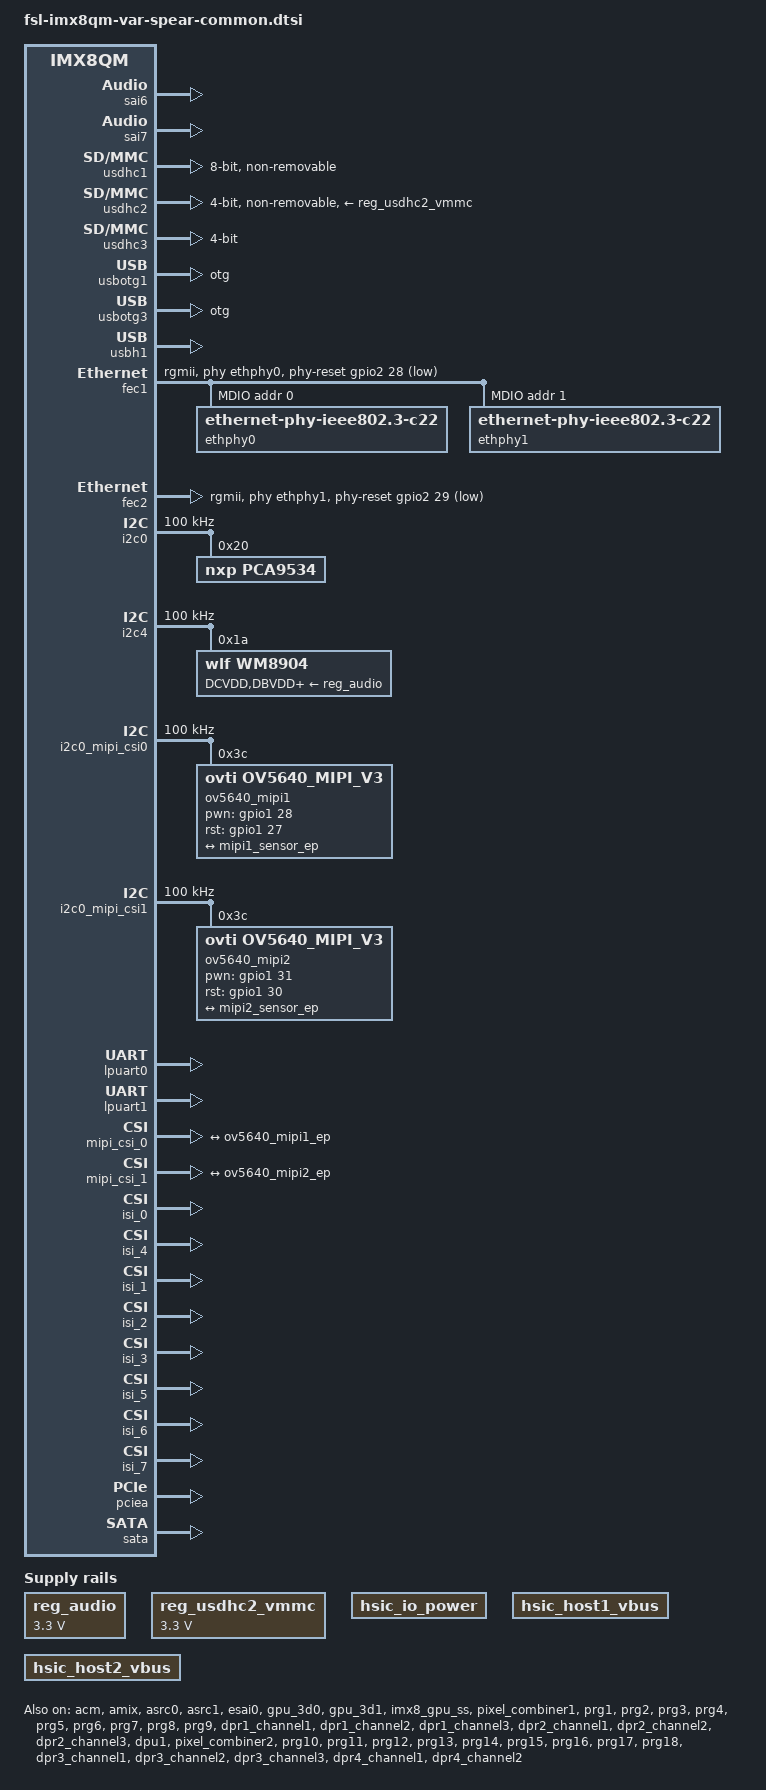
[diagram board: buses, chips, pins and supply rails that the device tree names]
/*
 * Copyright (C) 2016 Freescale Semiconductor, Inc.
 * Copyright 2017 NXP
 * Copyright 2019 Variscite Ltd.
 * 
 * This program is free software; you can redistribute it and/or
 * modify it under the terms of the GNU General Public License
 * as published by the Free Software Foundation; either version 2
 * of the License, or (at your option) any later version.
 *
 * This program is distributed in the hope that it will be useful,
 * but WITHOUT ANY WARRANTY; without even the implied warranty of
 * MERCHANTABILITY or FITNESS FOR A PARTICULAR PURPOSE.  See the
 * GNU General Public License for more details.
 */

/dts-v1/;

#include "fsl-imx8qm.dtsi"

/ {
	compatible = "fsl,imx8qm-var-spear", "fsl,imx8qm";

	chosen {
		bootargs = "console=ttyLP0,115200 earlycon=lpuart32,0x5a060000,115200";
		stdout-path = &lpuart0;
	};

	aliases {
		gpio0 = &gpio0;
		gpio1 = &gpio1;
		gpio2 = &gpio2;
		gpio3 = &gpio3;
		gpio4 = &gpio4;
		gpio5 = &gpio5;
		gpio6 = &gpio6;
		gpio7 = &gpio7;
		i2c0  = &i2c0;
		i2c1  = &i2c1;
		i2c2  = &i2c2;
		i2c3  = &i2c3;
		i2c4  = &i2c4;
	};

	regulators: regulators {
		compatible = "simple-bus";
		#address-cells = <1>;
		#size-cells = <0>;

		reg_audio: audio {
			compatible = "regulator-fixed";
			regulator-name = "wm8904_supply";
			regulator-min-microvolt = <3300000>;
			regulator-max-microvolt = <3300000>;
			regulator-always-on;
		};

		reg_usdhc2_vmmc: usdhc2_vmmc {
			compatible = "regulator-fixed";
			regulator-name = "sw-3p3-sd1";
			regulator-min-microvolt = <3300000>;
			regulator-max-microvolt = <3300000>;
			regulator-always-on;
		};

		hsic_io_power: hsic_io_power {
			compatible = "regulator-fixed";
			regulator-name = "hsic_io_power";
			regulator-always-on;
		};

		hsic_host1_vbus: hsic_host1_vbus {
			compatible = "regulator-fixed";
			regulator-name = "hsic_host1_vbus";
			regulator-always-on;
		};

		hsic_host2_vbus: hsic_host2_vbus {
			compatible = "regulator-fixed";
			regulator-name = "hsic_host2_vbus";
			regulator-always-on;
		};
	};

	sound-wm8904 {
		compatible = "fsl,imx-audio-wm8904";
		model = "imx-wm8904";
		audio-codec = <&wm8904>;
		audio-cpu = <&esai0>;
		audio-routing =
			"Headphone Jack", "HPOUTL",
			"Headphone Jack", "HPOUTR",
			"IN2L", "Line In Jack",
			"IN2R", "Line In Jack",
			"IN1L", "Mic Jack",
			"Playback", "CPU-Playback",
			"CPU-Capture", "Capture";
		status = "okay";
	};

	sound-amix-sai {
		compatible = "fsl,imx-audio-amix";
		model = "amix-audio-sai";
		dais = <&sai6>, <&sai7>;
		amix-controller = <&amix>;
	};
};

&acm {
	status = "okay";
};

&amix {
	status = "okay";
};

&asrc0 {
	assigned-clocks = <&clk IMX8QM_AUD_PLL0_DIV>,
			<&clk IMX8QM_AUD_ACM_AUD_PLL_CLK0_DIV>,
			<&clk IMX8QM_AUD_ACM_AUD_REC_CLK0_DIV>;
	assigned-clock-rates = <786432000>, <49152000>, <24576000>;
	fsl,asrc-rate  = <48000>;
	status = "okay";
};

&asrc1 {
	assigned-clocks = <&clk IMX8QM_AUD_PLL0_DIV>,
			<&clk IMX8QM_AUD_ACM_AUD_PLL_CLK0_DIV>,
			<&clk IMX8QM_AUD_ACM_AUD_REC_CLK0_DIV>;
	assigned-clock-rates = <786432000>, <49152000>, <24576000>;
	fsl,asrc-rate = <48000>;
	status = "okay";
};

&esai0 {
	pinctrl-names = "default";
	pinctrl-0 = <&pinctrl_esai0>;
	assigned-clocks = <&clk IMX8QM_ACM_ESAI0_MCLK_SEL>,
			<&clk IMX8QM_AUD_PLL0_DIV>,
			<&clk IMX8QM_AUD_ACM_AUD_PLL_CLK0_DIV>,
			<&clk IMX8QM_AUD_ACM_AUD_REC_CLK0_DIV>,
			<&clk IMX8QM_AUD_ESAI_0_EXTAL_IPG>;
	assigned-clock-parents = <&clk IMX8QM_AUD_ACM_AUD_PLL_CLK0_CLK>;
	assigned-clock-rates = <0>, <786432000>, <49152000>, <24576000>, <49152000>;
	status = "okay";
};

&sai6 {
	assigned-clocks = <&clk IMX8QM_ACM_SAI6_MCLK_SEL>,
			<&clk IMX8QM_AUD_PLL1_DIV>,
			<&clk IMX8QM_AUD_ACM_AUD_PLL_CLK1_DIV>,
			<&clk IMX8QM_AUD_ACM_AUD_REC_CLK1_DIV>,
			<&clk IMX8QM_AUD_SAI_6_MCLK>;
	assigned-clock-parents = <&clk IMX8QM_AUD_ACM_AUD_PLL_CLK1_CLK>;
	assigned-clock-rates = <0>, <786432000>, <98304000>, <24576000>, <98304000>;
	fsl,sai-asynchronous;
	fsl,txm-rxs;
	status = "okay";
};

&sai7 {
	assigned-clocks = <&clk IMX8QM_ACM_SAI7_MCLK_SEL>,
			<&clk IMX8QM_AUD_PLL1_DIV>,
			<&clk IMX8QM_AUD_ACM_AUD_PLL_CLK1_DIV>,
			<&clk IMX8QM_AUD_ACM_AUD_REC_CLK1_DIV>,
			<&clk IMX8QM_AUD_SAI_7_MCLK>;
	assigned-clock-parents = <&clk IMX8QM_AUD_ACM_AUD_PLL_CLK1_CLK>;
	assigned-clock-rates = <0>, <786432000>, <98304000>, <24576000>, <98304000>;
	fsl,sai-asynchronous;
	fsl,txm-rxs;
	status = "okay";
};

&iomuxc {
	pinctrl-names = "default";
	pinctrl-0 = <&pinctrl_hog>;

	imx8qm_var_spear {
		pinctrl_hog: hoggrp {
			fsl,pins = <
				SC_P_ADC_IN2_LSIO_GPIO3_IO20			0x00000041
				SC_P_ADC_IN3_LSIO_GPIO3_IO21			0x00000041
				SC_P_ADC_IN4_LSIO_GPIO3_IO22			0x00000041
				SC_P_ADC_IN5_LSIO_GPIO3_IO23			0x00000041
				SC_P_ADC_IN7_LSIO_GPIO3_IO25			0x00000041
				SC_P_ENET0_REFCLK_125M_25M_LSIO_GPIO4_IO15	0x00000041
				SC_P_ENET1_REFCLK_125M_25M_LSIO_GPIO4_IO16	0x00000041
				SC_P_ESAI1_SCKT_LSIO_GPIO2_IO07			0x00000041
				SC_P_ESAI1_TX1_LSIO_GPIO2_IO09			0x00000041
				SC_P_ESAI1_TX2_RX3_LSIO_GPIO2_IO10		0x00000041
				SC_P_ESAI1_TX3_RX2_LSIO_GPIO2_IO11		0x00000041
				SC_P_ESAI1_TX4_RX1_LSIO_GPIO2_IO12		0x00000041
				SC_P_ESAI1_TX5_RX0_LSIO_GPIO2_IO13		0x00000041
				SC_P_FLEXCAN0_RX_LSIO_GPIO3_IO29		0x00000041
				SC_P_FLEXCAN0_TX_LSIO_GPIO3_IO30		0x00000041
				SC_P_FLEXCAN1_RX_LSIO_GPIO3_IO31		0x00000041
				SC_P_FLEXCAN1_TX_LSIO_GPIO4_IO00		0x00000041
				SC_P_FLEXCAN2_RX_LSIO_GPIO4_IO01		0x00000041
				SC_P_FLEXCAN2_TX_LSIO_GPIO4_IO02		0x00000041
				SC_P_GPT0_CAPTURE_LSIO_GPIO0_IO15		0x00000041
				SC_P_GPT0_CLK_LSIO_GPIO0_IO14			0x00000041
				SC_P_GPT0_COMPARE_LSIO_GPIO0_IO16		0x00000041
				SC_P_GPT1_CAPTURE_LSIO_GPIO0_IO18		0x00000041
				SC_P_GPT1_CLK_LSIO_GPIO0_IO17			0x00000041
				SC_P_GPT1_COMPARE_LSIO_GPIO0_IO19		0x00000041
				SC_P_LVDS0_GPIO00_LSIO_GPIO1_IO04		0x00000041
				SC_P_LVDS0_GPIO01_LSIO_GPIO1_IO05		0x00000041
				SC_P_LVDS0_I2C0_SCL_LSIO_GPIO1_IO06		0x00000041
				SC_P_LVDS0_I2C1_SCL_LSIO_GPIO1_IO08		0x00000041
				SC_P_LVDS0_I2C1_SDA_LSIO_GPIO1_IO09		0x00000041
				SC_P_LVDS1_GPIO00_LSIO_GPIO1_IO10		0x00000041
				SC_P_LVDS1_GPIO01_LSIO_GPIO1_IO11		0x00000041
				SC_P_LVDS1_I2C0_SCL_LSIO_GPIO1_IO12		0x00000041
				SC_P_LVDS1_I2C0_SDA_LSIO_GPIO1_IO13		0x00000041
				SC_P_LVDS1_I2C1_SCL_LSIO_GPIO1_IO14		0x00000041
				SC_P_LVDS1_I2C1_SDA_LSIO_GPIO1_IO15		0x00000041
				SC_P_M40_GPIO0_00_LSIO_GPIO0_IO08		0x00000041
				SC_P_M40_GPIO0_01_LSIO_GPIO0_IO09		0x00000041
				SC_P_M40_I2C0_SCL_LSIO_GPIO0_IO06		0x00000041
				SC_P_M40_I2C0_SDA_LSIO_GPIO0_IO07		0x00000041
				SC_P_M41_GPIO0_00_LSIO_GPIO0_IO12		0x00000041
				SC_P_M41_GPIO0_01_LSIO_GPIO0_IO13		0x00000041
				SC_P_M41_I2C0_SCL_LSIO_GPIO0_IO10		0x00000041
				SC_P_M41_I2C0_SDA_LSIO_GPIO0_IO11		0x00000041
				SC_P_MIPI_DSI0_GPIO0_00_LSIO_GPIO1_IO18		0x00000041
				SC_P_MIPI_DSI0_GPIO0_01_LSIO_GPIO1_IO19		0x00000041
				SC_P_MIPI_DSI0_I2C0_SCL_LSIO_GPIO1_IO16		0x00000041
				SC_P_MIPI_DSI0_I2C0_SDA_LSIO_GPIO1_IO17		0x00000041
				SC_P_MLB_DATA_LSIO_GPIO3_IO28			0x00000041
				SC_P_MLB_SIG_LSIO_GPIO3_IO26			0x00000041
				SC_P_PCIE_CTRL0_CLKREQ_B_LSIO_GPIO4_IO27	0x00000041
				SC_P_PCIE_CTRL0_PERST_B_LSIO_GPIO4_IO29		0x00000041
				SC_P_PCIE_CTRL0_WAKE_B_LSIO_GPIO4_IO28		0x00000041
				SC_P_PCIE_CTRL1_CLKREQ_B_LSIO_GPIO4_IO30	0x00000041
				SC_P_PCIE_CTRL1_PERST_B_LSIO_GPIO5_IO00		0x00000041
				SC_P_PCIE_CTRL1_WAKE_B_LSIO_GPIO4_IO31		0x00000041
				SC_P_SAI1_RXC_LSIO_GPIO3_IO12			0x00000041
				SC_P_SAI1_TXC_LSIO_GPIO3_IO15			0x00000041
				SC_P_SAI1_TXD_LSIO_GPIO3_IO16			0x00000041
				SC_P_SCU_GPIO0_00_LSIO_GPIO0_IO28		0x00000061
				SC_P_SCU_GPIO0_01_LSIO_GPIO0_IO29		0x00000061
				SC_P_SCU_GPIO0_05_LSIO_GPIO1_IO01		0x00000041
				SC_P_SCU_GPIO0_06_LSIO_GPIO1_IO02		0x00000041
				SC_P_MLB_CLK_LSIO_GPIO3_IO27			0x00000041
				SC_P_SPI2_SCK_LSIO_GPIO3_IO07			0x00000041
				SC_P_UART0_CTS_B_LSIO_GPIO0_IO23		0x00000041
				SC_P_UART0_RTS_B_LSIO_GPIO0_IO22		0x00000041
				SC_P_USB_SS3_TC0_LSIO_GPIO4_IO03		0x00000041
				SC_P_USB_SS3_TC1_LSIO_GPIO4_IO04		0x00000041
				SC_P_USB_SS3_TC2_LSIO_GPIO4_IO05		0x00000041
				SC_P_USB_SS3_TC3_LSIO_GPIO4_IO06		0x00000041
				SC_P_USDHC1_DATA4_LSIO_GPIO5_IO19		0x00000041
				SC_P_USDHC1_DATA5_LSIO_GPIO5_IO20		0x00000041
				SC_P_USDHC1_DATA6_LSIO_GPIO5_IO21		0x00000041
				SC_P_USDHC1_DATA7_LSIO_GPIO5_IO22		0x00000041
				SC_P_USDHC1_RESET_B_LSIO_GPIO4_IO07		0x00000041
				SC_P_USDHC1_STROBE_LSIO_GPIO5_IO23		0x00000041
				SC_P_ADC_IN6_LSIO_GPIO3_IO24			0x00000041
				SC_P_ADC_IN0_LSIO_GPIO3_IO18			0x00000041
				SC_P_ADC_IN1_LSIO_GPIO3_IO19			0x00000041
				SC_P_SPI3_CS1_LSIO_GPIO2_IO21			0x00000041
				SC_P_SPDIF0_RX_LSIO_GPIO2_IO14			0x00000041
				SC_P_SPI0_SDI_LSIO_GPIO3_IO04			0x00000041
				SC_P_SPDIF0_EXT_CLK_LSIO_GPIO2_IO16		0x00000041
				SC_P_SPI2_CS1_LSIO_GPIO3_IO11			0x00000041
				SC_P_MCLK_IN0_LSIO_GPIO3_IO00			0x00000041
				SC_P_SPI0_SCK_LSIO_GPIO3_IO02			0x00000041
				SC_P_ESAI1_FST_LSIO_GPIO2_IO05			0x00000041
				SC_P_SPI3_SDI_LSIO_GPIO2_IO19			0x00000041
				SC_P_ESAI1_SCKR_LSIO_GPIO2_IO06			0x00000041
				SC_P_ESAI1_FSR_LSIO_GPIO2_IO04			0x00000041
				SC_P_SAI1_RXD_LSIO_GPIO3_IO13			0x00000041
				SC_P_ESAI1_TX0_LSIO_GPIO2_IO08			0x00000041
				SC_P_SPI0_SDO_LSIO_GPIO3_IO03			0x00000041
				SC_P_SPI2_SDO_LSIO_GPIO3_IO08			0x00000041
				SC_P_SPI2_SDI_LSIO_GPIO3_IO09			0x00000041
				SC_P_SPI2_CS0_LSIO_GPIO3_IO10			0x00000041
				SC_P_SAI1_TXFS_LSIO_GPIO3_IO17			0x00000041
				SC_P_SPI0_CS0_LSIO_GPIO3_IO05			0x00000041
				SC_P_SPDIF0_TX_LSIO_GPIO2_IO15			0x00000041
				SC_P_SPI0_CS1_LSIO_GPIO3_IO06			0x00000041
				SC_P_SPI3_SDO_LSIO_GPIO2_IO18			0x00000041
				SC_P_SPI3_CS0_LSIO_GPIO2_IO20			0x00000041
				SC_P_SPI3_SCK_LSIO_GPIO2_IO17			0x00000041
			>;
		};
		pinctrl_esai0: esai0grp {
			fsl,pins = <
				SC_P_ESAI0_FSR_AUD_ESAI0_FSR			0xc600004c
				SC_P_ESAI0_FST_AUD_ESAI0_FST			0xc600004c
				SC_P_ESAI0_SCKR_AUD_ESAI0_SCKR			0xc600004c
				SC_P_ESAI0_SCKT_AUD_ESAI0_SCKT			0xc600004c
				SC_P_ESAI0_TX0_AUD_ESAI0_TX0			0xc600004c
				SC_P_ESAI0_TX5_RX0_AUD_ESAI0_TX5_RX0		0xc600004c
				SC_P_MCLK_OUT0_AUD_ESAI0_TX_HF_CLK		0xc600004c
			>;
		};

		pinctrl_fec1: fec1grp {
			fsl,pins = <
				SC_P_ENET0_MDC_CONN_ENET0_MDC			0x06000048
				SC_P_ENET0_MDIO_CONN_ENET0_MDIO			0x06000048
				SC_P_ENET0_RGMII_TX_CTL_CONN_ENET0_RGMII_TX_CTL	0x06000048
				SC_P_ENET0_RGMII_TXC_CONN_ENET0_RGMII_TXC	0x06000048
				SC_P_ENET0_RGMII_TXD0_CONN_ENET0_RGMII_TXD0	0x06000048
				SC_P_ENET0_RGMII_TXD1_CONN_ENET0_RGMII_TXD1	0x06000048
				SC_P_ENET0_RGMII_TXD2_CONN_ENET0_RGMII_TXD2	0x06000048
				SC_P_ENET0_RGMII_TXD3_CONN_ENET0_RGMII_TXD3	0x06000048
				SC_P_ENET0_RGMII_RXC_CONN_ENET0_RGMII_RXC	0x06000048
				SC_P_ENET0_RGMII_RX_CTL_CONN_ENET0_RGMII_RX_CTL	0x06000048
				SC_P_ENET0_RGMII_RXD0_CONN_ENET0_RGMII_RXD0	0x06000048
				SC_P_ENET0_RGMII_RXD1_CONN_ENET0_RGMII_RXD1	0x06000048
				SC_P_ENET0_RGMII_RXD2_CONN_ENET0_RGMII_RXD2	0x06000048
				SC_P_ENET0_RGMII_RXD3_CONN_ENET0_RGMII_RXD3	0x06000048
				SC_P_ESAI0_TX2_RX3_LSIO_GPIO2_IO28		0x06000048
			>;
		};

		pinctrl_fec2: fec2grp {
			fsl,pins = <
				SC_P_ENET1_RGMII_TX_CTL_CONN_ENET1_RGMII_TX_CTL	0x06000048
				SC_P_ENET1_RGMII_TXC_CONN_ENET1_RGMII_TXC	0x06000048
				SC_P_ENET1_RGMII_TXD0_CONN_ENET1_RGMII_TXD0	0x06000048
				SC_P_ENET1_RGMII_TXD1_CONN_ENET1_RGMII_TXD1	0x06000048
				SC_P_ENET1_RGMII_TXD2_CONN_ENET1_RGMII_TXD2	0x06000048
				SC_P_ENET1_RGMII_TXD3_CONN_ENET1_RGMII_TXD3	0x06000048
				SC_P_ENET1_RGMII_RXC_CONN_ENET1_RGMII_RXC	0x06000048
				SC_P_ENET1_RGMII_RX_CTL_CONN_ENET1_RGMII_RX_CTL	0x06000048
				SC_P_ENET1_RGMII_RXD0_CONN_ENET1_RGMII_RXD0	0x06000048
				SC_P_ENET1_RGMII_RXD1_CONN_ENET1_RGMII_RXD1	0x06000048
				SC_P_ENET1_RGMII_RXD2_CONN_ENET1_RGMII_RXD2	0x06000048
				SC_P_ENET1_RGMII_RXD3_CONN_ENET1_RGMII_RXD3	0x06000048
				SC_P_ESAI0_TX3_RX2_LSIO_GPIO2_IO29		0x06000048
			>;
		};

		pinctrl_lpi2c0: lpi2c0grp {
			fsl,pins = <
				SC_P_HDMI_TX0_TS_SCL_DMA_I2C0_SCL		0xc600004c
				SC_P_HDMI_TX0_TS_SDA_DMA_I2C0_SDA		0xc600004c
			>;
		};

		pinctrl_lpi2c4: lpi2c4grp {
			fsl,pins = <
				SC_P_ENET1_MDC_DMA_I2C4_SCL				0xc600004c
				SC_P_ENET1_MDIO_DMA_I2C4_SDA			0xc600004c
			>;
		};

		pinctrl_lpuart0: lpuart0grp {
			fsl,pins = <
				SC_P_UART0_RX_DMA_UART0_RX				0x06000020
				SC_P_UART0_TX_DMA_UART0_TX				0x06000020
			>;
		};

		pinctrl_lpuart1: lpuart1grp {
			fsl,pins = <
				SC_P_UART1_RX_DMA_UART1_RX				0x06000020
				SC_P_UART1_TX_DMA_UART1_TX				0x06000020
				SC_P_UART1_CTS_B_DMA_UART1_RTS_B		0x06000020
				SC_P_UART1_RTS_B_DMA_UART1_CTS_B		0x06000020
			>;
		};

		pinctrl_usdhc1: usdhc1grp {
			fsl,pins = <
				SC_P_EMMC0_CLK_CONN_EMMC0_CLK			0x06000041
				SC_P_EMMC0_CMD_CONN_EMMC0_CMD			0x00000021
				SC_P_EMMC0_DATA0_CONN_EMMC0_DATA0		0x00000021
				SC_P_EMMC0_DATA1_CONN_EMMC0_DATA1		0x00000021
				SC_P_EMMC0_DATA2_CONN_EMMC0_DATA2		0x00000021
				SC_P_EMMC0_DATA3_CONN_EMMC0_DATA3		0x00000021
				SC_P_EMMC0_DATA4_CONN_EMMC0_DATA4		0x00000021
				SC_P_EMMC0_DATA5_CONN_EMMC0_DATA5		0x00000021
				SC_P_EMMC0_DATA6_CONN_EMMC0_DATA6		0x00000021
				SC_P_EMMC0_DATA7_CONN_EMMC0_DATA7		0x00000021
				SC_P_EMMC0_STROBE_CONN_EMMC0_STROBE		0x06000041
				SC_P_EMMC0_RESET_B_CONN_EMMC0_RESET_B		0x00000021
			>;
		};

		pinctrl_usdhc1_100mhz: usdhc1grp100mhz {
			fsl,pins = <
				SC_P_EMMC0_CLK_CONN_EMMC0_CLK			0x06000040
				SC_P_EMMC0_CMD_CONN_EMMC0_CMD			0x00000020
				SC_P_EMMC0_DATA0_CONN_EMMC0_DATA0		0x00000020
				SC_P_EMMC0_DATA1_CONN_EMMC0_DATA1		0x00000020
				SC_P_EMMC0_DATA2_CONN_EMMC0_DATA2		0x00000020
				SC_P_EMMC0_DATA3_CONN_EMMC0_DATA3		0x00000020
				SC_P_EMMC0_DATA4_CONN_EMMC0_DATA4		0x00000020
				SC_P_EMMC0_DATA5_CONN_EMMC0_DATA5		0x00000020
				SC_P_EMMC0_DATA6_CONN_EMMC0_DATA6		0x00000020
				SC_P_EMMC0_DATA7_CONN_EMMC0_DATA7		0x00000020
				SC_P_EMMC0_STROBE_CONN_EMMC0_STROBE		0x06000040
				SC_P_EMMC0_RESET_B_CONN_EMMC0_RESET_B		0x00000020
			>;
		};

		pinctrl_usdhc1_200mhz: usdhc1grp200mhz {
			fsl,pins = <
				SC_P_EMMC0_CLK_CONN_EMMC0_CLK			0x06000040
				SC_P_EMMC0_CMD_CONN_EMMC0_CMD			0x00000020
				SC_P_EMMC0_DATA0_CONN_EMMC0_DATA0		0x00000020
				SC_P_EMMC0_DATA1_CONN_EMMC0_DATA1		0x00000020
				SC_P_EMMC0_DATA2_CONN_EMMC0_DATA2		0x00000020
				SC_P_EMMC0_DATA3_CONN_EMMC0_DATA3		0x00000020
				SC_P_EMMC0_DATA4_CONN_EMMC0_DATA4		0x00000020
				SC_P_EMMC0_DATA5_CONN_EMMC0_DATA5		0x00000020
				SC_P_EMMC0_DATA6_CONN_EMMC0_DATA6		0x00000020
				SC_P_EMMC0_DATA7_CONN_EMMC0_DATA7		0x00000020
				SC_P_EMMC0_STROBE_CONN_EMMC0_STROBE		0x06000040
				SC_P_EMMC0_RESET_B_CONN_EMMC0_RESET_B		0x00000020
			>;
		};

		pinctrl_usdhc2: usdhc2grp {
			fsl,pins = <
				SC_P_USDHC1_CLK_CONN_USDHC1_CLK			0x06000041
				SC_P_USDHC1_CMD_CONN_USDHC1_CMD			0x00000021
				SC_P_USDHC1_DATA0_CONN_USDHC1_DATA0		0x00000021
				SC_P_USDHC1_DATA1_CONN_USDHC1_DATA1		0x00000021
				SC_P_USDHC1_DATA2_CONN_USDHC1_DATA2		0x00000021
				SC_P_USDHC1_DATA3_CONN_USDHC1_DATA3		0x00000021
				SC_P_USDHC1_VSELECT_CONN_USDHC1_VSELECT		0x00000021
			>;
		};

		pinctrl_usdhc2_100mhz: usdhc2grp100mhz {
			fsl,pins = <
				SC_P_USDHC1_CLK_CONN_USDHC1_CLK			0x06000040
				SC_P_USDHC1_CMD_CONN_USDHC1_CMD			0x00000020
				SC_P_USDHC1_DATA0_CONN_USDHC1_DATA0		0x00000020
				SC_P_USDHC1_DATA1_CONN_USDHC1_DATA1		0x00000020
				SC_P_USDHC1_DATA2_CONN_USDHC1_DATA2		0x00000020
				SC_P_USDHC1_DATA3_CONN_USDHC1_DATA3		0x00000020
				SC_P_USDHC1_VSELECT_CONN_USDHC1_VSELECT		0x00000020
			>;
		};

		pinctrl_usdhc2_200mhz: usdhc2grp200mhz {
			fsl,pins = <
				SC_P_USDHC1_CLK_CONN_USDHC1_CLK			0x06000040
				SC_P_USDHC1_CMD_CONN_USDHC1_CMD			0x00000020
				SC_P_USDHC1_DATA0_CONN_USDHC1_DATA0		0x00000020
				SC_P_USDHC1_DATA1_CONN_USDHC1_DATA1		0x00000020
				SC_P_USDHC1_DATA2_CONN_USDHC1_DATA2		0x00000020
				SC_P_USDHC1_DATA3_CONN_USDHC1_DATA3		0x00000020
				SC_P_USDHC1_VSELECT_CONN_USDHC1_VSELECT		0x00000020
			>;
		};

		pinctrl_usdhc3: usdhc3grp {
			fsl,pins = <
				SC_P_USDHC2_CLK_CONN_USDHC2_CLK			0x06000041
				SC_P_USDHC2_CMD_CONN_USDHC2_CMD			0x00000021
				SC_P_USDHC2_DATA0_CONN_USDHC2_DATA0		0x00000021
				SC_P_USDHC2_DATA1_CONN_USDHC2_DATA1		0x00000021
				SC_P_USDHC2_DATA2_CONN_USDHC2_DATA2		0x00000021
				SC_P_USDHC2_DATA3_CONN_USDHC2_DATA3		0x00000021
			>;
		};

		pinctrl_usdhc3_100mhz: usdhc3grp100mhz {
			fsl,pins = <
				SC_P_USDHC2_CLK_CONN_USDHC2_CLK			0x06000040
				SC_P_USDHC2_CMD_CONN_USDHC2_CMD			0x00000020
				SC_P_USDHC2_DATA0_CONN_USDHC2_DATA0		0x00000020
				SC_P_USDHC2_DATA1_CONN_USDHC2_DATA1		0x00000020
				SC_P_USDHC2_DATA2_CONN_USDHC2_DATA2		0x00000020
				SC_P_USDHC2_DATA3_CONN_USDHC2_DATA3		0x00000020
			>;
		};

		pinctrl_usdhc3_200mhz: usdhc3grp200mhz {
			fsl,pins = <
				SC_P_USDHC2_CLK_CONN_USDHC2_CLK			0x06000040
				SC_P_USDHC2_CMD_CONN_USDHC2_CMD			0x00000020
				SC_P_USDHC2_DATA0_CONN_USDHC2_DATA0		0x00000020
				SC_P_USDHC2_DATA1_CONN_USDHC2_DATA1		0x00000020
				SC_P_USDHC2_DATA2_CONN_USDHC2_DATA2		0x00000020
				SC_P_USDHC2_DATA3_CONN_USDHC2_DATA3		0x00000020
			>;
		};

		pinctrl_mipicsi0: mipicsi0grp {
			fsl,pins = <
				SC_P_MIPI_CSI0_MCLK_OUT_MIPI_CSI0_ACM_MCLK_OUT  0xC0000041
				SC_P_MIPI_CSI0_GPIO0_01_LSIO_GPIO1_IO28		0x06000048
				SC_P_MIPI_CSI0_GPIO0_00_LSIO_GPIO1_IO27		0x06000048
			>;
		};

		pinctrl_mipicsi1: mipicsi1grp {
			fsl,pins = <
				SC_P_MIPI_CSI1_MCLK_OUT_MIPI_CSI1_ACM_MCLK_OUT  0xC0000041
				SC_P_MIPI_CSI1_GPIO0_00_LSIO_GPIO1_IO30		0x06000048
				SC_P_MIPI_CSI1_GPIO0_01_LSIO_GPIO1_IO31		0x06000048
			>;
		};

		pinctrl_wifi: wifigrp {
			fsl,pins = <
				SC_P_SCU_GPIO0_07_SCU_DSC_RTC_CLOCK_OUTPUT_32K 	0xc600004c /* WIFI_32K_CLK   */
				SC_P_SCU_GPIO0_03_LSIO_GPIO0_IO31		0x06000021 /* WIFI_REG_ON    */
				SC_P_SCU_GPIO0_02_LSIO_GPIO0_IO30		0x00000021 /* BT_REG_ON      */
				SC_P_QSPI1A_DATA0_LSIO_GPIO4_IO26		0x00000021 /* BT_BUF         */
			>;
		};

		pinctrl_usb_hsic_idle: usbhsic_idle {
			fsl,pins = <
				SC_P_LVDS0_I2C0_SDA_LSIO_GPIO1_IO07		0x00000021
				SC_P_USB_HSIC0_DATA_CONN_USB_HSIC0_DATA		0xc60000c5
				SC_P_USB_HSIC0_STROBE_CONN_USB_HSIC0_STROBE	0xc60000c5
			>;
		};

		pinctrl_usb_hsic_active: usbsic_active {
			fsl,pins = <
				SC_P_LVDS0_I2C0_SDA_LSIO_GPIO1_IO07		0x00000021
				SC_P_USB_HSIC0_DATA_CONN_USB_HSIC0_DATA		0xc60000c5
				SC_P_USB_HSIC0_STROBE_CONN_USB_HSIC0_STROBE	0xc60000d5
			>;
		};
	};
};

&usdhc1 {
	pinctrl-names = "default", "state_100mhz", "state_200mhz";
	pinctrl-0 = <&pinctrl_usdhc1>;
	pinctrl-1 = <&pinctrl_usdhc1_100mhz>;
	pinctrl-2 = <&pinctrl_usdhc1_200mhz>;
	bus-width = <8>;
	non-removable;
	status = "okay";
};

&usdhc2 {
	pinctrl-names = "default", "state_100mhz", "state_200mhz";
	pinctrl-0 = <&pinctrl_usdhc2>;
	pinctrl-1 = <&pinctrl_usdhc2_100mhz>;
	pinctrl-2 = <&pinctrl_usdhc2_200mhz>;
	bus-width = <4>;
	non-removable;
	vmmc-supply = <&reg_usdhc2_vmmc>;
	status = "okay";
};

&usdhc3 {
	pinctrl-names = "default", "state_100mhz", "state_200mhz";
	pinctrl-0 = <&pinctrl_usdhc3>, <&pinctrl_wifi>;
	pinctrl-1 = <&pinctrl_usdhc3_100mhz>, <&pinctrl_wifi>;
	pinctrl-2 = <&pinctrl_usdhc3_200mhz>, <&pinctrl_wifi>;
	bus-width = <4>;
	status = "okay";
};

&usbotg1 {
	dr_mode = "otg";
	srp-disable;
	hnp-disable;
	adp-disable;
	ci-disable-lpm;
	power-polarity-active-high;
	disable-over-current;
	status = "okay";
};

&usbotg3 {
	dr_mode = "otg";
	status = "okay";
};

&usbh1 {
	pinctrl-names = "idle", "active";
	pinctrl-0 = <&pinctrl_usb_hsic_idle>;
	pinctrl-1 = <&pinctrl_usb_hsic_active>;
	srp-disable;
	hnp-disable;
	adp-disable;
	disable-over-current;
	status = "okay";
};

&fec1 {
	pinctrl-names = "default";
	pinctrl-0 = <&pinctrl_fec1>;
	phy-reset-gpios = <&gpio2 28 GPIO_ACTIVE_LOW>;
	phy-mode = "rgmii";
	phy-handle = <&ethphy0>;
	phy-reset-duration = <100>;
	phy-reset-post-delay = <200>;
	status = "okay";

	mdio {
		#address-cells = <1>;
		#size-cells = <0>;

		ethphy0: ethernet-phy@0 {
			compatible = "ethernet-phy-ieee802.3-c22";
			at803x,vddio-1p8v;
			at803x,eee-disabled;
			reg = <0>;
		};

		ethphy1: ethernet-phy@1 {
			compatible = "ethernet-phy-ieee802.3-c22";
			at803x,vddio-1p8v;
			at803x,eee-disabled;
			reg = <1>;
		};
	};
};

&fec2 {
	pinctrl-names = "default";
	pinctrl-0 = <&pinctrl_fec2>;
	phy-mode = "rgmii";
	phy-handle = <&ethphy1>;
	phy-reset-gpios = <&gpio2 29 GPIO_ACTIVE_LOW>;
	phy-reset-duration = <100>;
	phy-reset-post-delay = <200>;
	status = "okay";
};


&flexspi0 {
	status = "disabled";
};

&i2c0 {
	#address-cells = <1>;
	#size-cells = <0>;
	pinctrl-names = "default";
	pinctrl-0 = <&pinctrl_lpi2c0>;
	clock-frequency = <100000>;
	status = "okay";

	/* GPIO Expander */
	pca9534: gpio@20 {
		compatible = "nxp,pca9534";
		reg = <0x20>;
		gpio-controller;
		#gpio-cells = <2>;
		status ="okay";
		
		usb3_hub_reset {
			gpio-hog;
			gpios = <1 0>;
			output-low;
			line-name = "usb3_hub_reset";
		};

		hsic_hub_reset {
			gpio-hog;
			gpios = <2 0>;
			output-low;
			line-name = "hsic_hub_reset";
		};

	};
};

&i2c4 {
	#address-cells = <1>;
	#size-cells = <0>;
	clock-frequency = <100000>;
	pinctrl-names = "default";
	pinctrl-0 = <&pinctrl_lpi2c4>;
	status = "okay";

	wm8904: codec@1a {
		compatible = "wlf,wm8904";
		reg = <0x1a>;
		clocks = <&clk IMX8QM_AUD_MCLKOUT0>;
		clock-names = "mclk";
		power-domains = <&pd_mclk_out0>;
		DCVDD-supply = <&reg_audio>;
		DBVDD-supply = <&reg_audio>;
		AVDD-supply = <&reg_audio>;
		CPVDD-supply = <&reg_audio>;
		MICVDD-supply = <&reg_audio>;
		gpio-cfg = <
			0x0018 /* GPIO1 => DMIC_CLK */
			0xffff /* GPIO2 => don't touch */
			0xffff /* GPIO3 => don't touch */
			0xffff /* GPIO4 => don't touch */
		>;
		status = "okay";
	};
};

&i2c0_mipi_csi0 {
	#address-cells = <1>;
	#size-cells = <0>;
	pinctrl-names = "default";
	clock-frequency = <100000>;
	status = "okay";

	ov5640_mipi1: ov5640_mipi1@3c {
		status = "okay";
		compatible = "ovti,ov5640_mipi_v3";
		reg = <0x3c>;
		pinctrl-names = "default";
		pinctrl-0 = <&pinctrl_mipicsi0>;
		clocks = <&clk IMX8QM_24MHZ>;
		clock-names = "csi_mclk";
		csi_id = <0>;
		pwn-gpios = <&gpio1 28 GPIO_ACTIVE_HIGH>;
		rst-gpios = <&gpio1 27 GPIO_ACTIVE_HIGH>;
		mclk = <24000000>;
		mclk_source = <1>;
		mipi_csi;

		port {
			ov5640_mipi1_ep: endpoint {
				remote-endpoint = <&mipi1_sensor_ep>;
			};
		};
	};
};

&i2c0_mipi_csi1 {
	#address-cells = <1>;
	#size-cells = <0>;
	pinctrl-names = "default";
	clock-frequency = <100000>;
	status = "okay";

	ov5640_mipi2: ov5640_mipi2@3c {
		status = "okay";
		compatible = "ovti,ov5640_mipi_v3";
		reg = <0x3c>;
		pinctrl-names = "default";
		pinctrl-0 = <&pinctrl_mipicsi1>;
		clocks = <&clk IMX8QM_24MHZ>;
		clock-names = "csi_mclk";
		csi_id = <1>;
		pwn-gpios = <&gpio1 31 GPIO_ACTIVE_HIGH>;
		rst-gpios = <&gpio1 30 GPIO_ACTIVE_HIGH>;
		mclk = <24000000>;
		mclk_source = <1>;
		mipi_csi;

		port {
			ov5640_mipi2_ep: endpoint {
				remote-endpoint = <&mipi2_sensor_ep>;
			};
		};
	};
};

&pd_dma_lpuart0 {
	debug_console;
};

&lpuart0 { /* console */
	pinctrl-names = "default";
	pinctrl-0 = <&pinctrl_lpuart0>;
	status = "okay";
};


&lpuart1 { /* BT */
	pinctrl-names = "default";
	pinctrl-0 = <&pinctrl_lpuart1>;
	uart-has-rtscts;
	status = "okay";
};


&pd_dma_lpspi2 {
	#address-cells = <1>;
	#size-cells = <0>;
	wakeup-irq = <250>;

	pd_dma0_chan4: PD_LPSPI2_RX {
		reg = <SC_R_DMA_0_CH4>;
		power-domains =<&pd_dma_lpspi2>;
		#power-domain-cells = <0>;
		#address-cells = <1>;
		#size-cells = <0>;

		pd_dma0_chan5: PD_LPSPI2_TX {
			reg = <SC_R_DMA_0_CH5>;
			power-domains =<&pd_dma0_chan4>;
			#power-domain-cells = <0>;
			#address-cells = <1>;
			#size-cells = <0>;
		};
	};
};

&mipi_csi_0 {
	#address-cells = <1>;
	#size-cells = <0>;
	status = "okay";

	port@0 {
		reg = <0>;
		mipi1_sensor_ep: endpoint1 {
			remote-endpoint = <&ov5640_mipi1_ep>;
			data-lanes = <1 2>;
		};
	};
};

&mipi_csi_1 {
	#address-cells = <1>;
	#size-cells = <0>;
	status = "okay";

	port@1 {
		reg = <1>;
		mipi2_sensor_ep: endpoint1 {
			remote-endpoint = <&ov5640_mipi2_ep>;
			data-lanes = <1 2>;
		};
	};
};

&mlb {
	status = "disabled";
};

&isi_0 {
	status = "okay";
};

&isi_4 {
	status = "okay";
};

&isi_1 {
	status = "okay";
};

&isi_2 {
	status = "okay";
};

&isi_3 {
	status = "okay";
};

&isi_5 {
        status = "okay";
};

&isi_6 {
        status = "okay";
};

&isi_7 {
        status = "okay";
};

&gpu_3d0 {
	status = "okay";
};

&gpu_3d1 {
	status = "okay";
};

&imx8_gpu_ss {
	status = "okay";
};

&pixel_combiner1 {
	status = "okay";
};

&prg1 {
	status = "okay";
};

&prg2 {
	status = "okay";
};

&prg3 {
	status = "okay";
};

&prg4 {
	status = "okay";
};

&prg5 {
	status = "okay";
};

&prg6 {
	status = "okay";
};

&prg7 {
	status = "okay";
};

&prg8 {
	status = "okay";
};

&prg9 {
	status = "okay";
};

&dpr1_channel1 {
	status = "okay";
};

&dpr1_channel2 {
	status = "okay";
};

&dpr1_channel3 {
	status = "okay";
};

&dpr2_channel1 {
	status = "okay";
};

&dpr2_channel2 {
	status = "okay";
};

&dpr2_channel3 {
	status = "okay";
};

&dpu1 {
	status = "okay";
};

&pixel_combiner2 {
	status = "okay";
};

&prg10 {
	status = "okay";
};

&prg11 {
	status = "okay";
};

&prg12 {
	status = "okay";
};

&prg13 {
	status = "okay";
};

&prg14 {
	status = "okay";
};

&prg15 {
	status = "okay";
};

&prg16 {
	status = "okay";
};

&prg17 {
	status = "okay";
};

&prg18 {
	status = "okay";
};

&dpr3_channel1 {
	status = "okay";
};

&dpr3_channel2 {
	status = "okay";
};

&dpr3_channel3 {
	status = "okay";
};

&dpr4_channel1 {
	status = "okay";
};

&dpr4_channel2 {
	status = "okay";
};

&dpr4_channel3 {
	status = "okay";
};

&dpu2 {
	status = "okay";
};

&pciea {
	ext_osc = <1>;
	pinctrl-names = "default";
	status = "okay";
};

&pcieb {
	status = "disabled";
};

&sata{
	status = "okay";
};

&intmux_cm40 {
	status = "okay";
};

&rpmsg {
	/*
	 * 64K for one rpmsg instance:
	 */
	vdev-nums = <1>;
	reg = <0x0 0x90000000 0x0 0x10000>;
	status = "okay";
};

&intmux_cm41 {
	status = "okay";
};

&rpmsg1 {
	/*
	 * 64K for one rpmsg instance:
	 */
	vdev-nums = <1>;
	reg = <0x0 0x90100000 0x0 0x10000>;
	status = "okay";
};

&wdog {
	status = "okay";
};

&vpu_decoder {
	core_type = <2>;
	status = "okay";
};

&vpu_encoder {
	core_type = <2>;
	status = "okay";
};

&rtc {
	status = "disabled";
};

&sc_pwrkey {
	status = "okay";
};
